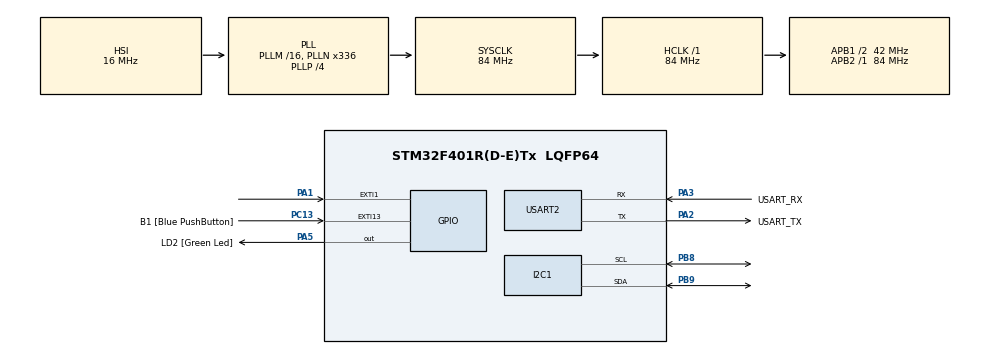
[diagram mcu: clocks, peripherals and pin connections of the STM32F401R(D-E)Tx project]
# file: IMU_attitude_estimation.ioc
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Mcu.Family=STM32F4
Mcu.Name=STM32F401R(D-E)Tx
Mcu.Package=LQFP64
NVIC.EXTI1_IRQn=true\:0\:0\:false\:false\:true\:true\:true\:true
NVIC.PriorityGroup=NVIC_PRIORITYGROUP_4
PA1.Signal=GPXTI1
PA13.GPIO_Label=TMS
PA13.Mode=Trace_Asynchronous_SW
PA13.Signal=SYS_JTMS-SWDIO
PA14.GPIO_Label=TCK
PA14.Mode=Trace_Asynchronous_SW
PA14.Signal=SYS_JTCK-SWCLK
PA2.GPIO_Label=USART_TX
PA2.GPIO_Mode=GPIO_MODE_AF_PP
PA2.GPIO_PuPd=GPIO_NOPULL
PA2.GPIO_Speed=GPIO_SPEED_FREQ_LOW
PA2.Mode=Asynchronous
PA2.Signal=USART2_TX
PA3.GPIO_Label=USART_RX
PA3.GPIO_Mode=GPIO_MODE_AF_PP
PA3.GPIO_PuPd=GPIO_NOPULL
PA3.GPIO_Speed=GPIO_SPEED_FREQ_LOW
PA3.Mode=Asynchronous
PA3.Signal=USART2_RX
PA5.GPIO_Label=LD2 [Green Led]
PA5.GPIO_Mode=GPIO_MODE_OUTPUT_PP
PA5.GPIO_PuPd=GPIO_NOPULL
PA5.GPIO_Speed=GPIO_SPEED_FREQ_LOW
PA5.Signal=GPIO_Output
PB3.GPIO_Label=SWO
PB3.Mode=Trace_Asynchronous_SW
PB3.Signal=SYS_JTDO-SWO
PB8.Mode=I2C
PB8.Signal=I2C1_SCL
PB9.Mode=I2C
PB9.Signal=I2C1_SDA
PC13-ANTI_TAMP.GPIO_Label=B1 [Blue PushButton]
PC13-ANTI_TAMP.GPIO_ModeDefaultEXTI=GPIO_MODE_IT_FALLING
PC13-ANTI_TAMP.GPIO_PuPd=GPIO_NOPULL
PC13-ANTI_TAMP.Signal=GPXTI13
PC14-OSC32_IN.Mode=LSE-External-Oscillator
PC14-OSC32_IN.Signal=RCC_OSC32_IN
PC15-OSC32_OUT.Mode=LSE-External-Oscillator
PC15-OSC32_OUT.Signal=RCC_OSC32_OUT
PH0\ -\ OSC_IN.Mode=HSE-External-Clock-Source
PH0\ -\ OSC_IN.Signal=RCC_OSC_IN
PH1\ -\ OSC_OUT.Mode=HSE-External-Clock-Source
PH1\ -\ OSC_OUT.Signal=RCC_OSC_OUT
ProjectManager.HeapSize=0x200
ProjectManager.StackSize=0x400
ProjectManager.TargetToolchain=CMake
RCC.48MHZClocksFreq_Value=48000000
RCC.AHBFreq_Value=84000000
RCC.APB1CLKDivider=RCC_HCLK_DIV2
RCC.APB1Freq_Value=42000000
RCC.APB1TimFreq_Value=84000000
RCC.APB2Freq_Value=84000000
RCC.APB2TimFreq_Value=84000000
RCC.CortexFreq_Value=84000000
RCC.HCLKFreq_Value=84000000
RCC.HSE_VALUE=8000000
RCC.HSI_VALUE=16000000
RCC.PLLN=336
RCC.PLLP=RCC_PLLP_DIV4
RCC.PLLQ=7
RCC.SYSCLKFreq_VALUE=84000000
RCC.SYSCLKSource=RCC_SYSCLKSOURCE_PLLCLK
RCC.VCOOutputFreq_Value=336000000
USART2.VirtualMode=VM_ASYNC
board=NUCLEO-F401RE

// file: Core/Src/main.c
/* USER CODE BEGIN Header */
/**
  ******************************************************************************
  * @file           : main.c
  * @brief          : Main program body
  ******************************************************************************
  * @attention
  *
  * Copyright (c) 2026 STMicroelectronics.
  * All rights reserved.
  *
  * This software is licensed under terms that can be found in the LICENSE file
  * in the root directory of this software component.
  * If no LICENSE file comes with this software, it is provided AS-IS.
  *
  ******************************************************************************
  */
/* USER CODE END Header */
#include "main.h"

/* USER CODE BEGIN Includes */
#include <stdint.h>
#include <string.h>
#include "stm32f4xx_hal.h"
#include "stm32f4xx_hal_def.h"
#include "telemetry.h"
#include "mpu6050.h"
#include <stdio.h>
#include "attitude.h"
#include "quaternion.h"

/* USER CODE END Includes */

I2C_HandleTypeDef hi2c1;

UART_HandleTypeDef huart2;

/* USER CODE BEGIN PV */
volatile uint8_t data_ready_flag = 0; // Flag to indicate data ready interrupt

/* USER CODE END PV */

void SystemClock_Config(void);
static void MX_GPIO_Init(void);
static void MX_I2C1_Init(void);
static void MX_USART2_UART_Init(void);
/* USER CODE BEGIN PFP */
void HAL_GPIO_EXTI_Callback(uint16_t GPIO_Pin);
void Send_Data(Quaternion data);
/* USER CODE END PFP */

int main(void)
{

  /* MCU Configuration--------------------------------------------------------*/

  /* Reset of all peripherals, Initializes the Flash interface and the Systick. */
  HAL_Init();

  /* USER CODE BEGIN Init */
  init_t0();
  /* USER CODE END Init */

  /* Configure the system clock */
  SystemClock_Config();

  /* Initialize all configured peripherals */
  MX_GPIO_Init();
  MX_I2C1_Init();
  MX_USART2_UART_Init();
  /* USER CODE BEGIN 2 */

  // Initialize the MPU6050
  if (mpu6050_init() == HAL_OK) {
      telemetry_print("MPU6050 initialized successfully\r\n");
      HAL_GPIO_WritePin(LD2_GPIO_Port, LD2_Pin, GPIO_PIN_SET); // Turn on LED
  } else {
      telemetry_print("Failed to initialize MPU6050\r\n");
      HAL_GPIO_WritePin(LD2_GPIO_Port, LD2_Pin, GPIO_PIN_RESET); // Turn off LED
  }

  // SET INITIAL Q = 1,0,0,0
  Quaternion current_attitude = {
    1.0f,
    0.0f,
    0.0f,
    0.0f
  };
  /* USER CODE END 2 */

  /* Infinite loop */
  /* USER CODE BEGIN WHILE */
  while (1)
  {
    if (data_ready_flag) {
      data_ready_flag = 0;

      if(attitude_update(&current_attitude) == HAL_OK) {
        telemetry_send_quaternion(current_attitude);
      }
    }
    /* USER CODE END WHILE */

  }
}

void SystemClock_Config(void)
{
  RCC_OscInitTypeDef RCC_OscInitStruct = {0};
  RCC_ClkInitTypeDef RCC_ClkInitStruct = {0};

  /** Configure the main internal regulator output voltage
  */
  __HAL_RCC_PWR_CLK_ENABLE();
  __HAL_PWR_VOLTAGESCALING_CONFIG(PWR_REGULATOR_VOLTAGE_SCALE2);

  /** Initializes the RCC Oscillators according to the specified parameters
  * in the RCC_OscInitTypeDef structure.
  */
  RCC_OscInitStruct.OscillatorType = RCC_OSCILLATORTYPE_HSI;
  RCC_OscInitStruct.HSIState = RCC_HSI_ON;
  RCC_OscInitStruct.HSICalibrationValue = RCC_HSICALIBRATION_DEFAULT;
  RCC_OscInitStruct.PLL.PLLState = RCC_PLL_ON;
  RCC_OscInitStruct.PLL.PLLSource = RCC_PLLSOURCE_HSI;
  RCC_OscInitStruct.PLL.PLLM = 16;
  RCC_OscInitStruct.PLL.PLLN = 336;
  RCC_OscInitStruct.PLL.PLLP = RCC_PLLP_DIV4;
  RCC_OscInitStruct.PLL.PLLQ = 7;
  if (HAL_RCC_OscConfig(&RCC_OscInitStruct) != HAL_OK)
  {
    Error_Handler();
  }

  /** Initializes the CPU, AHB and APB buses clocks
  */
  RCC_ClkInitStruct.ClockType = RCC_CLOCKTYPE_HCLK|RCC_CLOCKTYPE_SYSCLK
                              |RCC_CLOCKTYPE_PCLK1|RCC_CLOCKTYPE_PCLK2;
  RCC_ClkInitStruct.SYSCLKSource = RCC_SYSCLKSOURCE_PLLCLK;
  RCC_ClkInitStruct.AHBCLKDivider = RCC_SYSCLK_DIV1;
  RCC_ClkInitStruct.APB1CLKDivider = RCC_HCLK_DIV2;
  RCC_ClkInitStruct.APB2CLKDivider = RCC_HCLK_DIV1;

  if (HAL_RCC_ClockConfig(&RCC_ClkInitStruct, FLASH_LATENCY_2) != HAL_OK)
  {
    Error_Handler();
  }
}

static void MX_I2C1_Init(void)
{

  hi2c1.Instance = I2C1;
  hi2c1.Init.ClockSpeed = 100000;
  hi2c1.Init.DutyCycle = I2C_DUTYCYCLE_2;
  hi2c1.Init.OwnAddress1 = 0;
  hi2c1.Init.AddressingMode = I2C_ADDRESSINGMODE_7BIT;
  hi2c1.Init.DualAddressMode = I2C_DUALADDRESS_DISABLE;
  hi2c1.Init.OwnAddress2 = 0;
  hi2c1.Init.GeneralCallMode = I2C_GENERALCALL_DISABLE;
  hi2c1.Init.NoStretchMode = I2C_NOSTRETCH_DISABLE;
  if (HAL_I2C_Init(&hi2c1) != HAL_OK)
  {
    Error_Handler();
  }

}

static void MX_USART2_UART_Init(void)
{

  huart2.Instance = USART2;
  huart2.Init.BaudRate = 115200;
  huart2.Init.WordLength = UART_WORDLENGTH_8B;
  huart2.Init.StopBits = UART_STOPBITS_1;
  huart2.Init.Parity = UART_PARITY_NONE;
  huart2.Init.Mode = UART_MODE_TX_RX;
  huart2.Init.HwFlowCtl = UART_HWCONTROL_NONE;
  huart2.Init.OverSampling = UART_OVERSAMPLING_16;
  if (HAL_UART_Init(&huart2) != HAL_OK)
  {
    Error_Handler();
  }

}

static void MX_GPIO_Init(void)
{
  GPIO_InitTypeDef GPIO_InitStruct = {0};

  /* GPIO Ports Clock Enable */
  __HAL_RCC_GPIOC_CLK_ENABLE();
  __HAL_RCC_GPIOH_CLK_ENABLE();
  __HAL_RCC_GPIOA_CLK_ENABLE();
  __HAL_RCC_GPIOB_CLK_ENABLE();

  /*Configure GPIO pin Output Level */
  HAL_GPIO_WritePin(LD2_GPIO_Port, LD2_Pin, GPIO_PIN_RESET);

  /*Configure GPIO pin : B1_Pin */
  GPIO_InitStruct.Pin = B1_Pin;
  GPIO_InitStruct.Mode = GPIO_MODE_IT_FALLING;
  GPIO_InitStruct.Pull = GPIO_NOPULL;
  HAL_GPIO_Init(B1_GPIO_Port, &GPIO_InitStruct);

  /*Configure GPIO pin : PA1 */
  GPIO_InitStruct.Pin = GPIO_PIN_1;
  GPIO_InitStruct.Mode = GPIO_MODE_IT_RISING;
  GPIO_InitStruct.Pull = GPIO_NOPULL;
  HAL_GPIO_Init(GPIOA, &GPIO_InitStruct);

  /*Configure GPIO pin : LD2_Pin */
  GPIO_InitStruct.Pin = LD2_Pin;
  GPIO_InitStruct.Mode = GPIO_MODE_OUTPUT_PP;
  GPIO_InitStruct.Pull = GPIO_NOPULL;
  GPIO_InitStruct.Speed = GPIO_SPEED_FREQ_LOW;
  HAL_GPIO_Init(LD2_GPIO_Port, &GPIO_InitStruct);

  /* EXTI interrupt init*/
  HAL_NVIC_SetPriority(EXTI1_IRQn, 0, 0);
  HAL_NVIC_EnableIRQ(EXTI1_IRQn);

}

/* USER CODE BEGIN 4 */
void HAL_GPIO_EXTI_Callback(uint16_t GPIO_Pin) {
    if (GPIO_Pin == GPIO_PIN_1) {
        // Handle the interrupt triggered by PA1
        data_ready_flag = 1;
    }
}
/* USER CODE END 4 */

void Error_Handler(void)
{
  __disable_irq();
  while (1)
  {
  }
}
